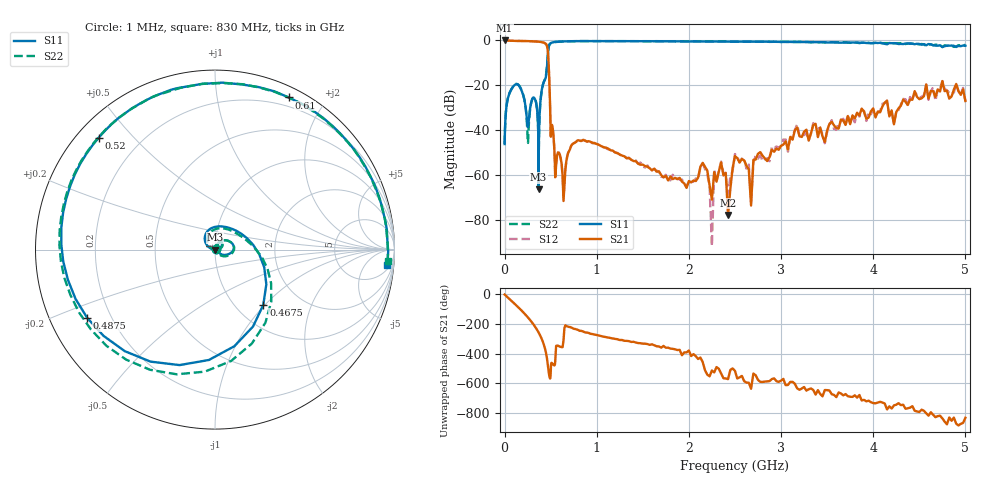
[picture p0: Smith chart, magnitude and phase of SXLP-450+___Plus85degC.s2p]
!Created: 07-15-2009 at 1:45 PM
!MODEL: SXLP-450+
!S/N: U6_TB+85
#MHz S dB R 50
!Frequency  S11 dB  S11 DEG  S21 dB  S21 DEG  S12 dB  S12 DEG  S22 dB  S22 DEG
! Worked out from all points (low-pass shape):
!   401 points, 1 MHz to 5 GHz, reference 50 ohm
!   highest |S21| = -0.04 dB at 1 MHz (marker M1); lowest = -77.8 dB at 2.425 GHz (marker M2)
!   |S21| within 3 dB of the highest: start of sweep to 463.9 MHz
!   lowest |S11| = -66.4 dB at 370 MHz (marker M3), VSWR 1.00, Z = 50 + j0.0435 ohm
!   |S11| at or under -10 dB: start of sweep to 463.7 MHz
!   |S22| runs from -60.0 to -0.3 dB; largest |S21 - S12| = 0.025
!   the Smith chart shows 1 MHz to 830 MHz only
!   S11 on the Smith chart (normalised r, x): 1 MHz: 1.01, +0.00; 467.5 MHz: 1.32, -0.98; 487.5 MHz: 0.11, -0.25; 520 MHz: 0.06, +0.40; 610 MHz: 0.11, +1.59; 830 MHz: 8, -19
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1  -46.21 21.6  -0.04 -0.6  -0.03 -0.6  -46.18 21.4
45  -24.59 55.0  -0.11 -25.9  -0.12 -26.0  -24.47 54.3
175  -21.42 -15.4  -0.26 -102.5  -0.26 -102.5  -21.28 -20.8
252.5  -38.74 11.2  -0.33 -154.3  -0.33 -154.3  -45.44 -5.3
335  -26.67 33.4  -0.47 138.7  -0.47 138.7  -26.40 28.7
370  -66.43 65.6  -0.57 102.6  -0.57 102.5  -60.02 13.8
390  -26.95 154.2  -0.68 78.2  -0.67 78.0  -27.30 144.8
435  -17.83 86.2  -1.18 3.6  -1.17 3.4  -17.74 63.5
467.5  -7.77 -48.8  -3.95 -104.5  -3.97 -105.0  -7.39 -42.8
487.5  -1.86 -151.9  -19.48 164.1  -19.59 163.9  -1.85 -138.5
502.5  -1.20 166.3  -42.95 -142.5  -42.93 -140.3  -1.24 178.5
520  -0.92 136.1  -38.37 -108.0  -38.43 -107.9  -0.97 146.4
547.5  -0.69 105.3  -56.69 -111.2  -56.51 -108.4  -0.74 113.2
610  -0.52 64.2  -52.67 5.6  -52.67 3.9  -0.54 69.0
830  -0.31 -5.1  -44.82 114.2  -44.89 113.1  -0.32 -3.9
840  -0.31 -7.3  -44.64 112.5  -44.71 111.7  -0.32 -6.2
1675  -0.41 -133.0  -58.32 8.7  -58.74 11.8  -0.38 -132.8
2425  -0.52 141.5  -77.81 147.2  -68.73 136.4  -0.50 142.9
2525  -0.54 130.9  -52.41 151.7  -51.73 155.8  -0.54 132.6
3350  -0.84 43.9  -37.71 73.9  -36.84 75.2  -0.74 44.5
4175  -1.18 -43.5  -33.88 -36.7  -33.32 -29.8  -1.22 -46.2
5000  -2.39 -136.1  -27.03 -113.9  -27.00 -126.5  -1.83 -134.2
